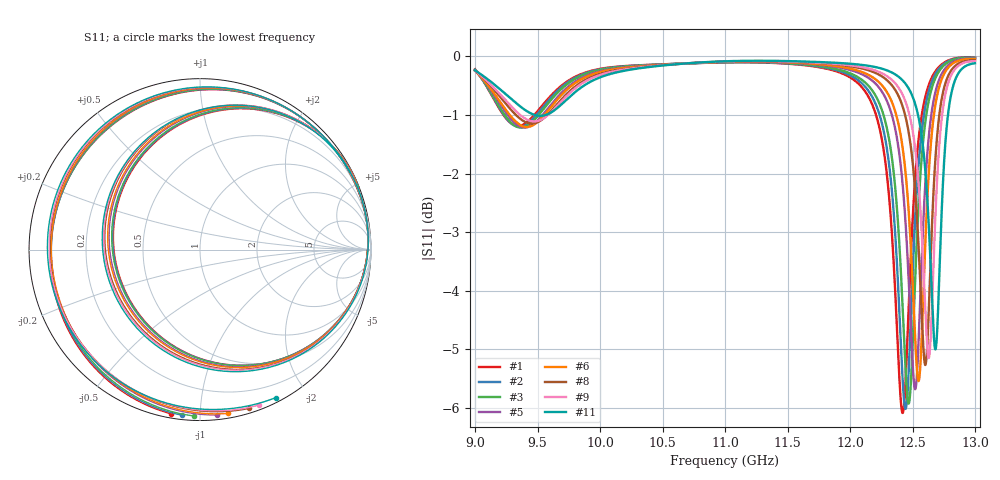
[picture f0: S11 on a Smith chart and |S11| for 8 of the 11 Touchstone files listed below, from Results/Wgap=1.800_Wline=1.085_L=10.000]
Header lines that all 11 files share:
! TOUCHSTONE file generated by CST DESIGN STUDIO
! Project name: C:\Work\MatlabApps\UnitCellOptimizationMatlab\CST\unitcell.cst
! Tree item: Tasks\Sweep1\SPara1\S-Parameters
! Header version: 2024
! Port assignment regex: !\s*Touchstone port\s*([0-9]+)\s*=\s*(CST MWS port|CST DES external port|CST DES block port)\s*(.+)\s* \(\"(.*)\"\)(\s*mode\s*([0-9]+))?.*
! Touchstone port assignment:
! Touchstone port 1 = CST DES external port 1 ("")
# GHz S MA R 50
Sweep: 9 GHz to 13 GHz
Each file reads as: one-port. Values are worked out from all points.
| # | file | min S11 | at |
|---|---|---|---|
| 1 | DS_for_MWS-run-0001.s1p | -6.1 dB | 12.42 GHz |
| 2 | DS_for_MWS-run-0002.s1p | -6.0 dB | 12.44 GHz |
| 3 | DS_for_MWS-run-0003.s1p | -5.9 dB | 12.47 GHz |
| 4 | DS_for_MWS-run-0004.s1p | -5.8 dB | 12.49 GHz |
| 5 | DS_for_MWS-run-0005.s1p | -5.7 dB | 12.52 GHz |
| 6 | DS_for_MWS-run-0006.s1p | -5.5 dB | 12.55 GHz |
| 7 | DS_for_MWS-run-0007.s1p | -5.4 dB | 12.57 GHz |
| 8 | DS_for_MWS-run-0008.s1p | -5.3 dB | 12.6 GHz |
| 9 | DS_for_MWS-run-0009.s1p | -5.2 dB | 12.63 GHz |
| 10 | DS_for_MWS-run-0010.s1p | -5.1 dB | 12.66 GHz |
| 11 | DS_for_MWS-run-0011.s1p | -5.0 dB | 12.68 GHz |
